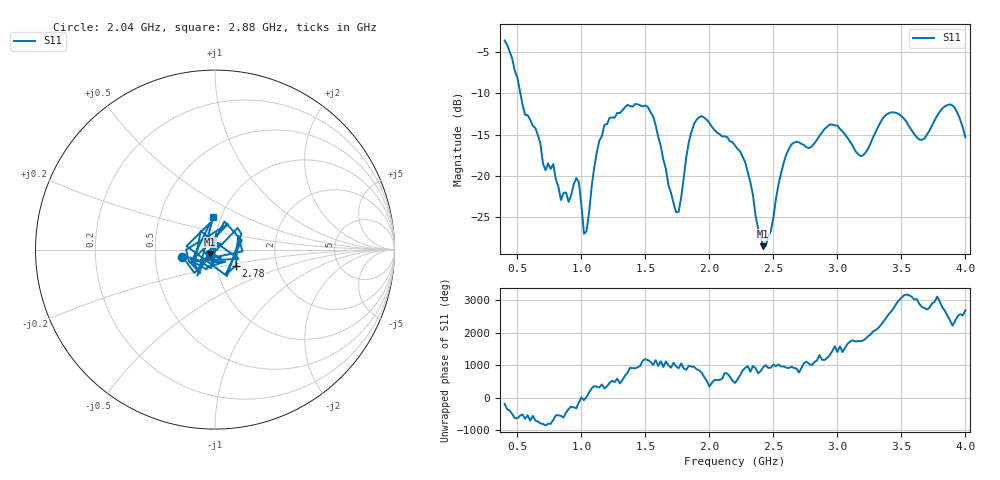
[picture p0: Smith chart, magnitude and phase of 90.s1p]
!Created with skrf (http://scikit-rf.org).
# Hz S RI R 50.0
!freq ReS11 ImS11
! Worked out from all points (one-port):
!   181 points, 400 MHz to 4 GHz, reference 50 ohm
!   lowest |S11| = -28.5 dB at 2.42 GHz (marker M1), VSWR 1.08, Z = 47.1 - j2.27 ohm
!   |S11| at or under -10 dB: 523 MHz to end of sweep
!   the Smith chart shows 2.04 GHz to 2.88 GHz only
!   S11 on the Smith chart (normalised r, x): 2.04 GHz: 0.69, -0.06; 2.78 GHz: 1.24, -0.23; 2.88 GHz: 0.92, +0.35
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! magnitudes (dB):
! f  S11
! 400 MHz  -3.6
! 700 MHz  -18.5
! 780 MHz  -18.6
! 840 MHz  -22.9
! 860 MHz  -22.1
! 980 MHz  -20.8
! 1.02 GHz  -27.0
! 1.04 GHz  -26.7
! 1.14 GHz  -15.7
! 1.3 GHz  -12.4
! 1.52 GHz  -11.7
! 1.76 GHz  -24.3
! 1.88 GHz  -13.7
! 2.04 GHz  -14.5
! 2.2 GHz  -16.3
! 2.28 GHz  -18.4
! 2.42 GHz  -28.5
! 2.58 GHz  -18.5
! 2.66 GHz  -16.0
! 2.78 GHz  -16.6
! 2.88 GHz  -14.8
! 3.1 GHz  -15.9
! 3.2 GHz  -17.5
! 3.42 GHz  -12.3
! 3.56 GHz  -14.0
! 3.68 GHz  -15.5
! 3.88 GHz  -11.3
! 4 GHz  -15.3
